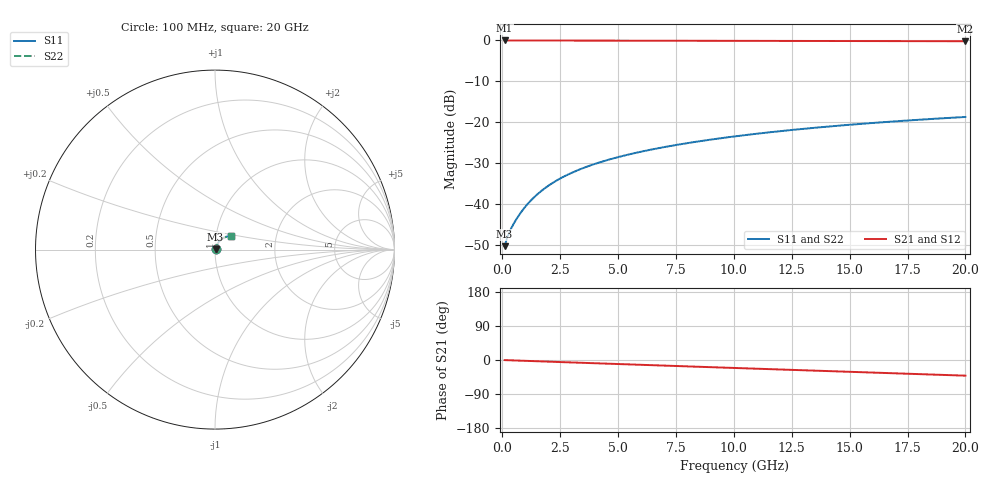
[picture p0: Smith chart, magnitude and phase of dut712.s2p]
! Touchstone file exported from HFSS 2026.1.0
!  File:  C:/ffzhzh/LocalFiles/Ansys_Project_Files/temp_train_TMRDL_712_1783154618_22436.aedt
!  Generated:  04:44:43 PM Jul  4, 2026
!  Design:  TMRDL
!  Project:  temp_train_TMRDL_712_1783154618_22436
! Variables:
!  h_bsmrdl = 2um
!  h_ox = 20um
!  h_rdl = 5um
!  h_sub = 80um
!  h_tmrdl = 5.52um
!  h_tsv = 80um
!  h_via = 3um
!  l_bsmrdl = 300um
!  l_sub = 1137.09um
!  l_tmrdl = 737.09um
!  m_sub = 200um
!  pitch = 26.09um
!  r_tsv = 6um
!  s_tmrdl = 10um
!  w_bsmrdl = 18um
!  w_sub = 500um
!  w_tmrdl = 18.21um
!  x_tsv_center1 = 746.195um
!  x_tsv_center2 = 1064.195um
!  x_tsv_center3 = 1819.495um
!  x_tsv_center4 = 2137.495um
!  x_tsv_center5 = 2892.795um
!  x_tsv_center6 = 3210.795um
# GHz S MA R 50.000000
! Terminal data exported
! Port[1] = TM_RDL1_1_T1
! Port[2] = TM_RDL1_1_T2
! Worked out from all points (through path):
!   200 points, 100 MHz to 20 GHz, reference 50 ohm
!   highest |S21| = -0.02 dB at 100 MHz (marker M1); lowest = -0.2 dB at 20 GHz (marker M2)
!   group delay of S21, straight-line fit = 5.71 ps
!   lowest |S11| = -50.3 dB at 100 MHz (marker M3), VSWR 1.01, Z = 50.3 + j0.122 ohm
!   |S11| at or under -10 dB: start of sweep to end of sweep
!   |S22| runs from -50.3 to -18.7 dB; largest |S21 - S12| = 4.1e-15
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0.1  0.003065 23.3  0.9972 -0.2  0.9972 -0.2  0.003065 23.3
! Gamma 0 0 0 0
! Port Impedance 50 0 50 0
0.2  0.003813 34.7  0.9969 -0.5  0.9969 -0.5  0.003812 34.7
0.3  0.00451 41.2  0.9966 -0.7  0.9966 -0.7  0.00451 41.2
0.5  0.005819 50.2  0.9964 -1.1  0.9964 -1.1  0.005818 50.2
0.7  0.007176 56.4  0.9962 -1.5  0.9962 -1.5  0.007176 56.4
0.9  0.008604 60.6  0.996 -2.0  0.996 -2.0  0.008604 60.6
1.1  0.01008 63.4  0.9958 -2.4  0.9958 -2.4  0.01008 63.5
1.3  0.01158 65.4  0.9957 -2.8  0.9957 -2.8  0.01158 65.4
1.7  0.0146 67.6  0.9952 -3.7  0.9952 -3.7  0.0146 67.6
2.2  0.01834 68.7  0.9946 -4.8  0.9946 -4.8  0.01834 68.7
2.8  0.02271 68.8  0.9938 -6.1  0.9938 -6.1  0.02271 68.8
3.5  0.02761 68.2  0.9928 -7.5  0.9928 -7.5  0.02761 68.2
4.2  0.03232 67.3  0.9919 -9.0  0.9919 -9.0  0.03231 67.4
5  0.03749 66.2  0.9908 -10.7  0.9908 -10.7  0.03749 66.2
5.9  0.04311 64.8  0.9896 -12.5  0.9896 -12.5  0.0431 64.9
6.8  0.04856 63.4  0.9886 -14.4  0.9886 -14.4  0.04855 63.5
8.3  0.05736 61.0  0.9869 -17.5  0.9869 -17.5  0.05734 61.1
10.1  0.06752 58.0  0.985 -21.2  0.985 -21.2  0.0675 58.2
11.7  0.07622 55.3  0.9835 -24.5  0.9835 -24.5  0.07619 55.5
13.4  0.08512 52.4  0.9818 -27.9  0.9818 -27.9  0.08508 52.5
16.7  0.1013 46.4  0.9787 -34.6  0.9787 -34.6  0.1013 46.7
20  0.116 40.4  0.9758 -41.3  0.9758 -41.3  0.1159 40.7
